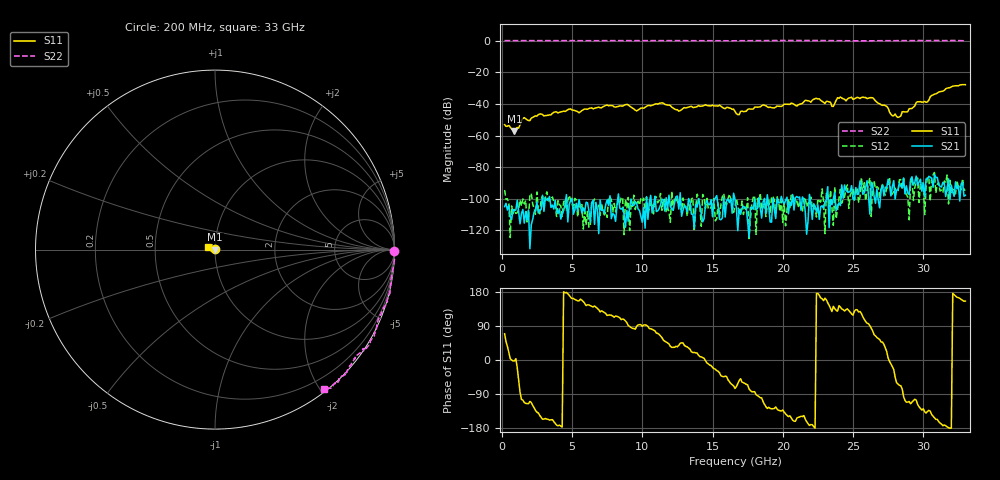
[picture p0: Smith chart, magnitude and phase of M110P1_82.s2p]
# GHZ S RI R 50
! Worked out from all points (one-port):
!   329 points, 200 MHz to 33 GHz, reference 50 ohm
!   lowest |S11| = -57.1 dB at 900 MHz (marker M1), VSWR 1.00, Z = 50.1 - j0.00613 ohm
!   |S11| at or under -10 dB: start of sweep to end of sweep
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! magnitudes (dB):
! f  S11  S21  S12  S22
! 200 MHz  -53.2  -105.0  -94.4  0.0
! 900 MHz  -57.1  -107.5  -106.7  0.0
! 1.6 GHz  -48.7  -115.4  -103.3  0.0
! 5.7 GHz  -44.2  -108.8  -103.6  0.0
! 8.9 GHz  -40.3  -107.3  -105.7  0.0
! 9.6 GHz  -44.5  -102.9  -102.9  0.0
! 11.2 GHz  -39.7  -106.2  -101.1  0.0
! 12.6 GHz  -44.6  -106.5  -104.4  0.0
! 14.5 GHz  -40.5  -103.2  -106.0  -0.1
! 16.6 GHz  -44.7  -100.3  -105.0  -0.1
! 16.9 GHz  -46.8  -106.5  -110.0  -0.1
! 18.6 GHz  -40.6  -101.9  -105.3  0.0
! 21 GHz  -41.4  -98.5  -101.4  0.0
! 22.1 GHz  -37.7  -113.0  -105.8  0.1
! 23.6 GHz  -41.6  -99.9  -116.8  0.0
! 24.1 GHz  -35.6  -104.3  -94.0  0.0
! 24.5 GHz  -38.1  -94.7  -93.1  -0.1
! 26.4 GHz  -36.2  -91.4  -89.2  -0.1
! 27.6 GHz  -45.1  -90.6  -86.5  -0.1
! 28.2 GHz  -48.6  -94.2  -95.6  0.0
! 29.6 GHz  -38.6  -91.5  -86.9  0.0
! 33 GHz  -27.9  -97.8  -94.4  -0.1
